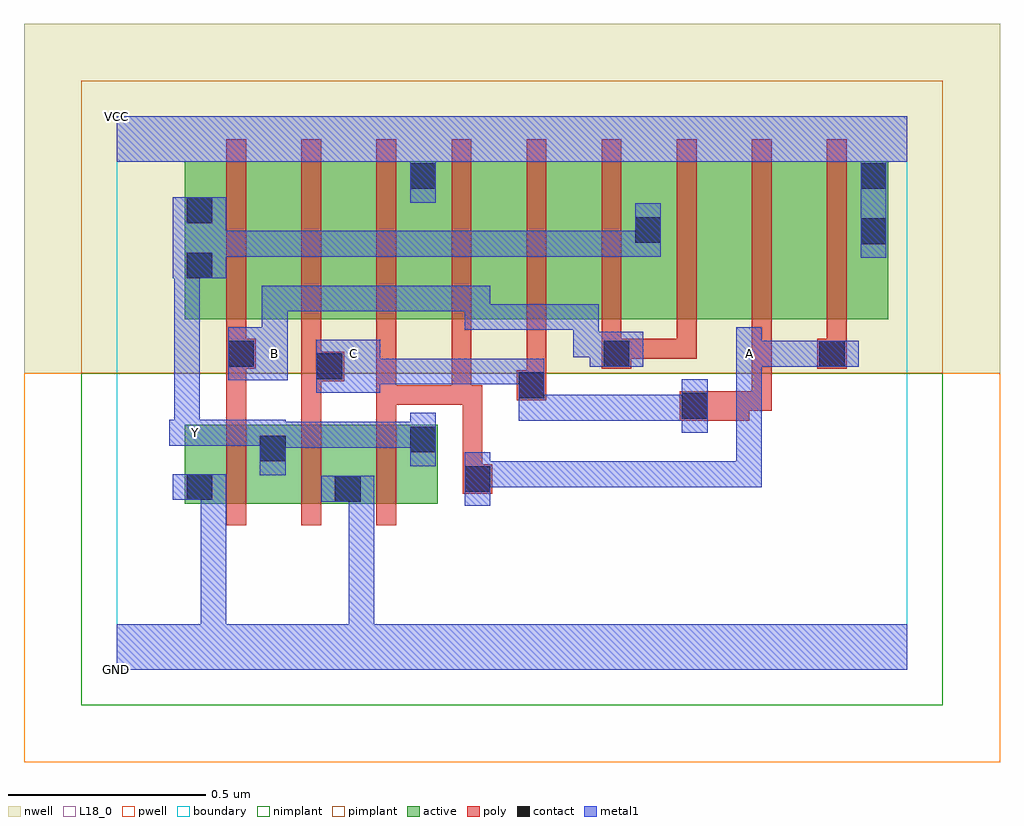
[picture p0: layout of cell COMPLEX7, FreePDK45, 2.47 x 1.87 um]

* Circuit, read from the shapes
.subckt COMPLEX7 A B C GND VCC Y
M1 Y B GND VSUBS nfet w=0.2u l=0.05u
M2 GND C Y VSUBS nfet w=0.2u l=0.05u
M3 Y A GND VSUBS nfet w=0.2u l=0.05u
M4 n1 B Y n2 pfet w=0.4u l=0.05u
M5 n3 C n1 n2 pfet w=0.4u l=0.05u
M6 VCC A n3 n2 pfet w=0.4u l=0.05u
M7 n4 A VCC n2 pfet w=0.4u l=0.05u
M8 n5 C n4 n2 pfet w=0.4u l=0.05u
M9 Y B n5 n2 pfet w=0.4u l=0.05u
M10 n6 B Y n2 pfet w=0.4u l=0.05u
M11 n7 C n6 n2 pfet w=0.4u l=0.05u
M12 VCC A n7 n2 pfet w=0.4u l=0.05u
.ends

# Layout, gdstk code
import gdstk
lib = gdstk.Library(unit=1e-6, precision=1e-09)
def R(c, l, rs):  # rectangles x0, y0, x1, y1
    for r in rs: c.add(gdstk.rectangle(r[:2], r[2:], *l))
def A(c, l, x, y, w, h, nx, ny, dx, dy):  # array of equal rectangles
    R(c, l, [(x+i*dx, y+j*dy, x+i*dx+w, y+j*dy+h) for i in range(nx) for j in range(ny)])
active = (1, 0)
pwell = (2, 0)
nwell = (3, 0)
nimplant = (4, 0)
pimplant = (5, 0)
poly = (9, 0)
contact = (10, 0)
metal1 = (11, 0)
L18_0 = (18, 0)
boundary = (235, 0)

complex7 = lib.new_cell('COMPLEX7')
A(complex7, active, 0.397, 0.887, 0.19, 0.4, 3, 1, 0.57, 0)
A(complex7, active, 0.587, 0.887, 0.225, 0.4, 3, 1, 0.57, 0)
R(complex7, active, [(0.172,0.42,0.432,0.62), (0.172,0.42,0.247,0.62), (0.357,0.42,0.622,0.62), (0.547,0.42,0.812,0.62), (0.547,0.42,0.622,0.577), (0.357,0.495,0.432,0.597), (0.737,0.495,0.812,0.62), (0.172,0.887,0.397,1.287), (0.172,0.887,0.277,1.2), (0.737,0.887,0.967,1.287), (1.307,0.887,1.537,1.287), (1.877,0.887,1.952,1.287), (0.737,0.907,0.812,1.287), (1.307,0.907,1.382,1.2)])
R(complex7, pwell, [(-0.235,-0.235,2.235,0.75)])
R(complex7, nwell, [(-0.235,0.75,2.235,1.635)])
R(complex7, nimplant, [(-0.09,-0.09,2.09,0.75)])
R(complex7, pimplant, [(-0.09,0.75,2.09,1.49)])
A(complex7, poly, 0.277, 0.365, 0.05, 0.31, 3, 1, 0.19, 0)
A(complex7, poly, 0.277, 0.832, 0.05, 0.51, 9, 1, 0.19, 0)
R(complex7, poly, [(0.875,0.445,0.95,0.52), (0.875,0.47,0.925,0.52), (0.875,0.47,0.925,0.52), (0.875,0.47,0.925,0.72), (0.277,0.625,0.327,0.812), (0.467,0.625,0.517,0.78), (0.657,0.625,0.707,0.72), (1.425,0.63,1.6,0.705), (1.55,0.655,1.6,0.705), (1.55,0.655,1.657,0.705), (1.607,0.655,1.657,0.882), (0.657,0.67,0.707,0.72), (0.657,0.67,0.707,0.72), (0.657,0.67,0.707,0.72), (0.657,0.67,0.707,0.882), (0.657,0.67,0.897,0.72), (0.847,0.67,0.897,0.72), (0.847,0.67,0.897,0.72), (0.847,0.67,0.897,0.72), (0.847,0.67,0.897,0.72), (0.847,0.67,0.897,0.882), (0.847,0.67,0.925,0.72), (1.012,0.682,1.087,0.757), (1.037,0.707,1.087,0.757), (1.037,0.707,1.087,0.757), (1.037,0.707,1.087,0.882), (0.467,0.73,0.575,0.805), (0.467,0.755,0.517,0.805), (0.467,0.755,0.517,0.805), (0.467,0.755,0.517,0.882), (0.277,0.762,0.327,0.812), (0.277,0.762,0.327,0.812), (0.277,0.762,0.352,0.837), (1.227,0.762,1.302,0.837), (1.772,0.762,1.847,0.837), (0.277,0.787,0.327,0.882), (1.227,0.787,1.277,0.882), (1.252,0.787,1.302,0.837), (1.252,0.787,1.302,0.837), (1.252,0.787,1.467,0.837), (1.417,0.787,1.467,0.882), (1.417,0.787,1.467,0.837), (1.797,0.787,1.847,0.882), (1.797,0.787,1.847,0.837), (1.797,0.787,1.847,0.837)])
R(complex7, contact, [(0.552,0.425,0.617,0.49), (0.177,0.43,0.242,0.495), (0.88,0.45,0.945,0.515), (0.362,0.527,0.427,0.592), (0.742,0.55,0.807,0.615), (1.43,0.635,1.495,0.7), (1.017,0.687,1.082,0.752), (0.505,0.735,0.57,0.8), (0.282,0.767,0.347,0.832), (1.232,0.767,1.297,0.832), (1.777,0.767,1.842,0.832), (0.177,0.99,0.242,1.055), (1.882,1.077,1.947,1.142), (1.312,1.08,1.377,1.145), (0.177,1.13,0.242,1.195), (0.742,1.217,0.807,1.282), (1.882,1.217,1.947,1.282)])
A(complex7, metal1, 0.88, 0.462, 0.202, 0.065, 3, 1, 0.275, 0)
R(complex7, metal1, [(0,0,2,0.115), (0.212,0.05,0.277,0.115), (0.212,0.05,0.277,0.115), (0.212,0.05,0.277,0.115), (0.212,0.05,0.277,0.115), (0.212,0.05,0.277,0.495), (0.587,0.05,0.652,0.115), (0.587,0.05,0.652,0.115), (0.587,0.05,0.652,0.115), (0.587,0.05,0.652,0.115), (0.587,0.05,0.652,0.49), (0.88,0.415,0.945,0.55), (0.517,0.425,0.652,0.49), (0.142,0.43,0.277,0.495), (0.88,0.462,0.945,0.527), (0.88,0.462,0.945,0.527), (0.88,0.462,0.945,0.527), (0.88,0.462,0.945,0.527), (1.017,0.462,1.082,0.527), (1.017,0.462,1.082,0.527), (1.017,0.462,1.082,0.527), (1.017,0.462,1.22,0.527), (1.155,0.462,1.22,0.527), (1.292,0.462,1.357,0.527), (1.292,0.462,1.357,0.527), (1.292,0.462,1.357,0.527), (1.292,0.462,1.495,0.527), (1.43,0.462,1.495,0.527), (1.567,0.462,1.632,0.797), (1.567,0.462,1.632,0.527), (1.567,0.462,1.632,0.527), (1.567,0.462,1.632,0.527), (0.362,0.492,0.427,0.627), (0.742,0.515,0.807,0.65), (0.362,0.562,0.57,0.627), (0.362,0.562,0.427,0.632), (0.505,0.562,0.57,0.627), (0.505,0.562,0.57,0.627), (0.505,0.562,0.57,0.627), (0.505,0.562,0.805,0.627), (0.74,0.562,0.805,0.627), (0.74,0.562,0.807,0.627), (0.132,0.567,0.267,0.632), (0.145,0.567,0.21,1.055), (0.202,0.567,0.267,0.632), (0.202,0.567,0.267,0.632), (0.202,0.567,0.427,0.632), (0.362,0.567,0.427,0.632), (1.43,0.6,1.495,0.735), (1.017,0.63,1.22,0.695), (1.017,0.63,1.082,0.717), (1.155,0.63,1.22,0.695), (1.155,0.63,1.357,0.695), (1.292,0.63,1.357,0.695), (1.292,0.63,1.357,0.695), (1.292,0.63,1.357,0.695), (1.292,0.63,1.495,0.695), (1.43,0.63,1.495,0.695), (1.43,0.63,1.495,0.695), (1.017,0.652,1.082,0.787), (1.017,0.652,1.082,0.717), (0.505,0.7,0.667,0.835), (0.602,0.722,0.667,0.787), (0.602,0.722,0.667,0.787), (0.602,0.722,0.807,0.787), (0.742,0.722,0.807,0.787), (0.742,0.722,0.807,0.787), (0.742,0.722,0.807,0.787), (0.742,0.722,0.945,0.787), (0.88,0.722,0.945,0.787), (0.88,0.722,0.945,0.787), (0.88,0.722,0.945,0.787), (0.88,0.722,1.082,0.787), (0.282,0.732,0.432,0.867), (1.567,0.732,1.632,0.867), (1.197,0.767,1.332,0.855), (1.567,0.767,1.807,0.832), (1.742,0.767,1.877,0.832), (1.155,0.79,1.22,0.925), (1.155,0.79,1.262,0.855), (0.367,0.802,0.432,0.867), (0.367,0.802,0.432,0.972), (0.88,0.86,0.945,0.925), (0.88,0.86,0.945,0.925), (0.88,0.86,1.082,0.925), (0.88,0.86,0.945,0.972), (1.017,0.86,1.082,0.925), (1.017,0.86,1.22,0.925), (0.367,0.907,0.667,0.972), (0.602,0.907,0.667,0.972), (0.602,0.907,0.667,0.972), (0.602,0.907,0.667,0.972), (0.602,0.907,0.805,0.972), (0.74,0.907,0.805,0.972), (0.74,0.907,0.805,0.972), (0.74,0.907,0.805,0.972), (0.74,0.907,0.945,0.972), (0.142,0.99,0.277,1.195), (0.145,0.99,0.21,1.055), (0.145,0.99,0.21,1.055), (1.882,1.042,1.947,1.317), (0.212,1.045,0.277,1.11), (0.212,1.045,0.277,1.11), (0.212,1.045,0.415,1.11), (0.35,1.045,0.415,1.11), (0.35,1.045,0.57,1.11), (0.505,1.045,0.57,1.11), (0.505,1.045,0.57,1.11), (0.505,1.045,0.57,1.11), (0.505,1.045,0.805,1.11), (0.74,1.045,0.805,1.11), (0.74,1.045,0.805,1.11), (0.74,1.045,0.805,1.11), (0.74,1.045,0.945,1.11), (0.88,1.045,0.945,1.11), (0.88,1.045,0.945,1.11), (0.88,1.045,0.945,1.11), (0.88,1.045,1.082,1.11), (1.017,1.045,1.082,1.11), (1.017,1.045,1.082,1.11), (1.017,1.045,1.082,1.11), (1.017,1.045,1.22,1.11), (1.155,1.045,1.22,1.11), (1.155,1.045,1.377,1.11), (1.312,1.045,1.377,1.18), (0.742,1.182,0.807,1.317), (0.742,1.252,0.807,1.35), (1.882,1.252,1.947,1.35), (0,1.285,2,1.4)])
A(complex7, L18_0, 0.88, 0.462, 0.202, 0.065, 3, 1, 0.275, 0)
R(complex7, L18_0, [(0,0,2,0.115), (0.212,0.05,0.277,0.115), (0.212,0.05,0.277,0.115), (0.212,0.05,0.277,0.115), (0.212,0.05,0.277,0.115), (0.212,0.05,0.277,0.495), (0.587,0.05,0.652,0.115), (0.587,0.05,0.652,0.115), (0.587,0.05,0.652,0.115), (0.587,0.05,0.652,0.115), (0.587,0.05,0.652,0.49), (0.88,0.415,0.945,0.55), (0.517,0.425,0.652,0.49), (0.142,0.43,0.277,0.495), (0.88,0.462,0.945,0.527), (0.88,0.462,0.945,0.527), (0.88,0.462,0.945,0.527), (0.88,0.462,0.945,0.527), (1.017,0.462,1.082,0.527), (1.017,0.462,1.082,0.527), (1.017,0.462,1.082,0.527), (1.017,0.462,1.22,0.527), (1.155,0.462,1.22,0.527), (1.292,0.462,1.357,0.527), (1.292,0.462,1.357,0.527), (1.292,0.462,1.357,0.527), (1.292,0.462,1.495,0.527), (1.43,0.462,1.495,0.527), (1.567,0.462,1.632,0.527), (1.567,0.462,1.632,0.527), (1.567,0.462,1.632,0.527), (1.567,0.462,1.632,0.797), (0.362,0.492,0.427,0.627), (0.742,0.515,0.807,0.65), (0.362,0.562,0.427,0.632), (0.362,0.562,0.57,0.627), (0.505,0.562,0.57,0.627), (0.505,0.562,0.57,0.627), (0.505,0.562,0.57,0.627), (0.505,0.562,0.805,0.627), (0.74,0.562,0.805,0.627), (0.74,0.562,0.807,0.627), (0.132,0.567,0.267,0.632), (0.145,0.567,0.21,1.055), (0.167,0.567,0.232,0.632), (0.202,0.567,0.267,0.632), (0.202,0.567,0.267,0.632), (0.202,0.567,0.427,0.632), (0.362,0.567,0.427,0.632), (1.43,0.6,1.495,0.735), (1.017,0.63,1.22,0.695), (1.017,0.63,1.082,0.717), (1.155,0.63,1.22,0.695), (1.155,0.63,1.357,0.695), (1.292,0.63,1.357,0.695), (1.292,0.63,1.357,0.695), (1.292,0.63,1.357,0.695), (1.292,0.63,1.495,0.695), (1.43,0.63,1.495,0.695), (1.43,0.63,1.495,0.695), (1.017,0.652,1.082,0.717), (1.017,0.652,1.082,0.787), (0.505,0.7,0.667,0.835), (0.602,0.722,0.667,0.787), (0.602,0.722,0.667,0.787), (0.602,0.722,0.807,0.787), (0.742,0.722,0.807,0.787), (0.742,0.722,0.807,0.787), (0.742,0.722,0.807,0.787), (0.742,0.722,0.945,0.787), (0.88,0.722,0.945,0.787), (0.88,0.722,0.945,0.787), (0.88,0.722,0.945,0.787), (0.88,0.722,1.082,0.787), (0.282,0.732,0.432,0.867), (1.567,0.732,1.632,0.867), (0.367,0.767,0.432,0.832), (0.567,0.767,0.632,0.832), (1.197,0.767,1.332,0.855), (1.567,0.767,1.632,0.832), (1.567,0.767,1.807,0.832), (1.742,0.767,1.877,0.832), (1.155,0.79,1.22,0.925), (1.155,0.79,1.262,0.855), (0.367,0.802,0.432,0.867), (0.367,0.802,0.432,0.972), (0.88,0.86,0.945,0.925), (0.88,0.86,0.945,0.925), (0.88,0.86,0.945,0.972), (0.88,0.86,1.082,0.925), (1.017,0.86,1.082,0.925), (1.017,0.86,1.22,0.925), (0.367,0.907,0.667,0.972), (0.602,0.907,0.667,0.972), (0.602,0.907,0.667,0.972), (0.602,0.907,0.667,0.972), (0.602,0.907,0.805,0.972), (0.74,0.907,0.805,0.972), (0.74,0.907,0.805,0.972), (0.74,0.907,0.805,0.972), (0.74,0.907,0.945,0.972), (0.142,0.99,0.277,1.195), (0.145,0.99,0.21,1.055), (0.145,0.99,0.21,1.055), (1.882,1.042,1.947,1.317), (0.212,1.045,0.277,1.11), (0.212,1.045,0.277,1.11), (0.212,1.045,0.415,1.11), (0.35,1.045,0.415,1.11), (0.35,1.045,0.57,1.11), (0.505,1.045,0.57,1.11), (0.505,1.045,0.57,1.11), (0.505,1.045,0.57,1.11), (0.505,1.045,0.805,1.11), (0.74,1.045,0.805,1.11), (0.74,1.045,0.805,1.11), (0.74,1.045,0.805,1.11), (0.74,1.045,0.945,1.11), (0.88,1.045,0.945,1.11), (0.88,1.045,0.945,1.11), (0.88,1.045,0.945,1.11), (0.88,1.045,1.082,1.11), (1.017,1.045,1.082,1.11), (1.017,1.045,1.082,1.11), (1.017,1.045,1.082,1.11), (1.017,1.045,1.22,1.11), (1.155,1.045,1.22,1.11), (1.155,1.045,1.377,1.11), (1.312,1.045,1.377,1.18), (0.742,1.182,0.807,1.317), (0.742,1.252,0.807,1.35), (1.882,1.252,1.947,1.35), (0,1.285,2,1.4)])
R(complex7, boundary, [(0,0,2,1.4)])
complex7.add(gdstk.Label('A', (1.6,0.8), layer=11, texttype=0))
complex7.add(gdstk.Label('B', (0.4,0.8), layer=11, texttype=0))
complex7.add(gdstk.Label('C', (0.6,0.8), layer=11, texttype=0))
complex7.add(gdstk.Label('Y', (0.2,0.6), layer=11, texttype=0))
complex7.add(gdstk.Label('VCC', (0,1.4), layer=11, texttype=0))
complex7.add(gdstk.Label('GND', (0,0), layer=11, texttype=0))

lib.write_gds('COMPLEX7.gds')
